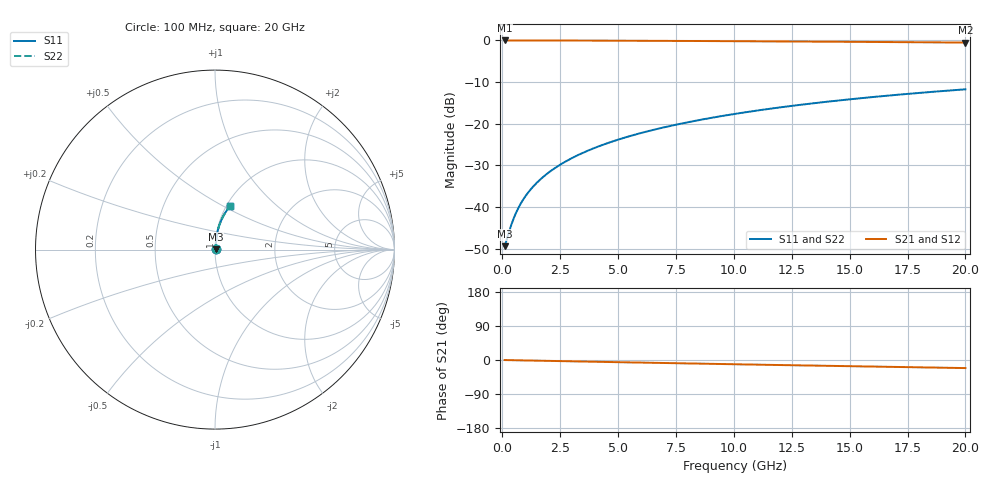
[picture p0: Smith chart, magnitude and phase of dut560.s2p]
! Touchstone file exported from HFSS 2024.1.0
!  File:  C:/UserFiles/LocalFiles/RDL_TSV_Batchsim/temp_RDL_top_560_1779681287.aedt
!  Generated:  11:57:00 AM May 25, 2026
!  Design:  RDL_top
!  Project:  temp_RDL_top_560_1779681287
!  Setup:  Setup1
!  Solution:  Sweep
! Variables:
!  dtsv = 10.80580581um
!  hbump = 3um
!  htsv = 59.73um
!  ldown = 100um
!  lrdl = 253.71um
!  p = 40
!  p1 = 40.89um
!  rhole = 1um
!  t = 450um
!  tdown = 3.915915916um
!  trdl = 2.25um
!  wdown = 15.38538539um
!  wrdl = 13.94um
# GHz S MA R 50.000000
! Terminal data exported
! Port[1] = Box2_T1
! Port[2] = Box2_T2
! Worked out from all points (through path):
!   200 points, 100 MHz to 20 GHz, reference 50 ohm
!   highest |S21| = -0.03 dB at 100 MHz (marker M1); lowest = -0.5 dB at 20 GHz (marker M2)
!   group delay of S21, straight-line fit = 2.95 ps
!   lowest |S11| = -49.4 dB at 100 MHz (marker M3), VSWR 1.01, Z = 50.3 + j0.136 ohm
!   |S11| at or under -10 dB: start of sweep to end of sweep
!   |S22| runs from -49.4 to -11.7 dB; largest |S21 - S12| = 3.1e-15
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0.1  0.003408 23.3  0.9969 -0.1  0.9969 -0.1  0.003408 23.3
! Gamma 0 0 0 0
! Port Impedance 50 0 50 0
0.4  0.006267 58.5  0.9967 -0.5  0.9967 -0.5  0.006267 58.5
0.5  0.007441 63.4  0.9966 -0.6  0.9966 -0.6  0.007441 63.4
0.6  0.008643 66.8  0.9966 -0.7  0.9966 -0.7  0.008642 66.8
0.7  0.009858 69.3  0.9965 -0.8  0.9965 -0.8  0.009858 69.3
0.9  0.01231 72.9  0.9963 -1.1  0.9963 -1.1  0.01231 72.9
1.2  0.01601 76.3  0.996 -1.4  0.996 -1.4  0.01601 76.3
1.4  0.01849 77.8  0.9959 -1.7  0.9959 -1.7  0.01849 77.8
1.7  0.02223 79.4  0.9956 -2.0  0.9956 -2.0  0.02223 79.4
2.2  0.02851 81.1  0.9951 -2.6  0.9951 -2.6  0.02851 81.1
2.8  0.03612 82.2  0.9943 -3.3  0.9943 -3.3  0.03611 82.2
3.5  0.04506 82.9  0.9933 -4.1  0.9933 -4.1  0.04506 82.9
4.2  0.05409 83.2  0.9921 -4.9  0.9921 -4.9  0.05409 83.2
5  0.06448 83.2  0.9905 -5.8  0.9905 -5.8  0.06448 83.2
5.9  0.07627 83.0  0.9885 -6.8  0.9885 -6.8  0.07627 83.0
6.8  0.08814 82.6  0.9863 -7.8  0.9863 -7.8  0.08814 82.6
8.3  0.1081 81.7  0.9823 -9.4  0.9823 -9.4  0.1081 81.7
10.1  0.132 80.3  0.9769 -11.3  0.9769 -11.3  0.132 80.3
11.7  0.1532 78.9  0.9717 -13.0  0.9717 -13.0  0.1532 78.9
13.4  0.1756 77.3  0.9659 -14.8  0.9659 -14.8  0.1756 77.3
16.7  0.218 74.1  0.9538 -18.1  0.9538 -18.1  0.218 74.1
20  0.2588 70.8  0.9408 -21.3  0.9408 -21.3  0.2588 70.8
